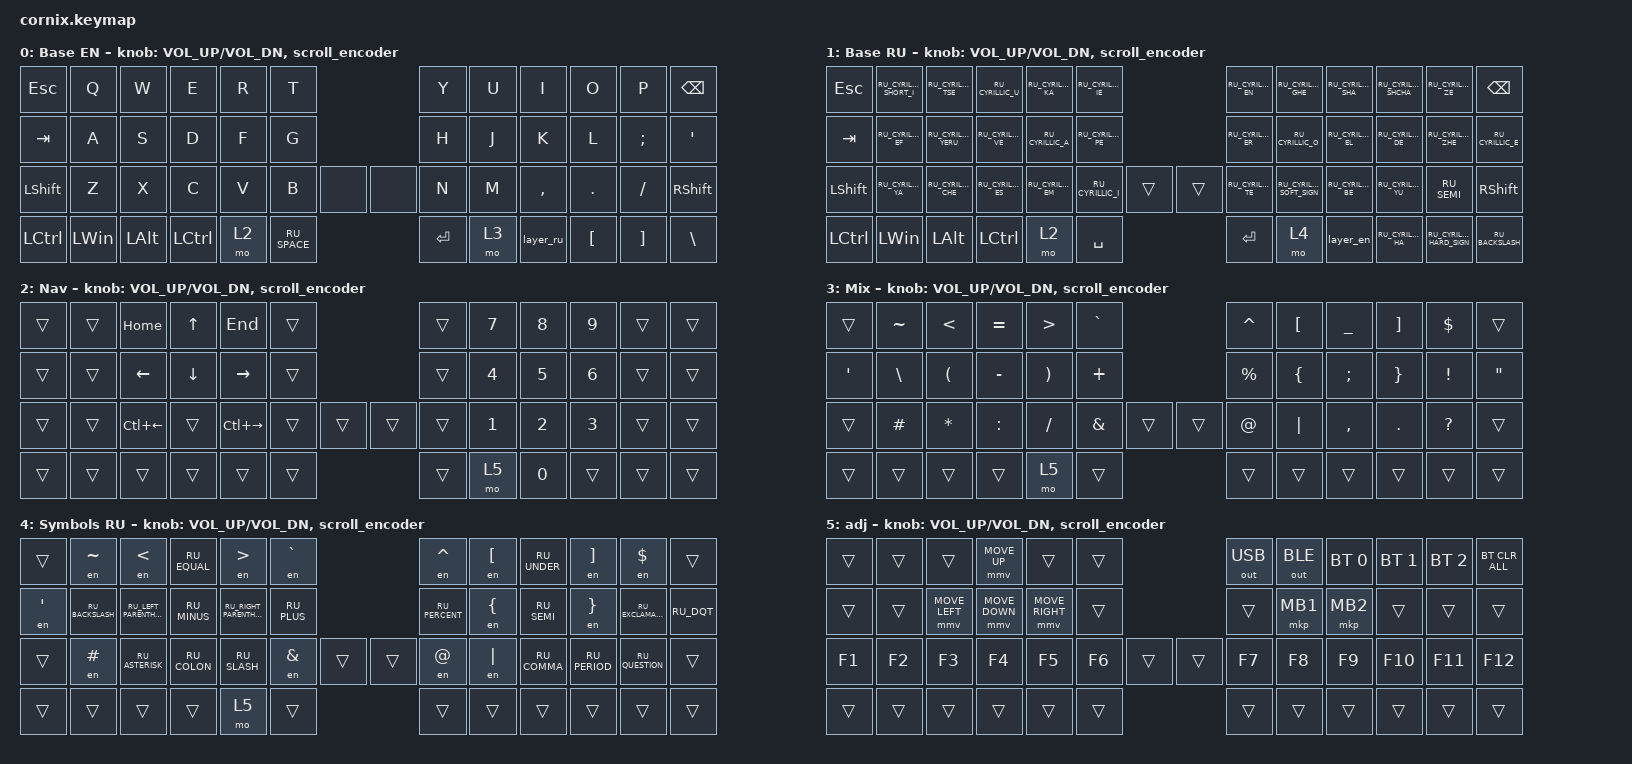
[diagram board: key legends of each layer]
/*
 * Copyright (c) 2020 The ZMK Contributors
 *
 * SPDX-License-Identifier: MIT
 */

#include "zmk-helpers/helper.h"
#include "includes/cornix54.h"
#include "keys_ru.h"

#define EN      0
#define RU      1
#define NAV     2
#define SYM_EN  3
#define SYM_RU  4
#define ADJ     5
#define ZMK_POINTING_DEFAULT_SCRL_VAL 80

#include <behaviors.dtsi>
#include <dt-bindings/zmk/bt.h>
#include <dt-bindings/zmk/keys.h>
#include <dt-bindings/zmk/outputs.h>
#include <dt-bindings/zmk/pointing.h>

/ {
    behaviors {
        scroll_encoder: scroll_encoder {
            compatible = "zmk,behavior-sensor-rotate";
            #sensor-binding-cells = <0>;
            bindings = <&msc SCRL_UP>, <&msc SCRL_DOWN>;

            tap-ms = <20>;
        };
    };

    combos {
        compatible = "zmk,combos";

        ru_io {
            bindings = <&kp RU_CYRILLIC_IO>;
            key-positions = <1 2>;
            layers = <1>;
            timeout-ms = <40>;
        };
    };

    macros {
        layer_en: layer_en {
            compatible = "zmk,behavior-macro";
            #binding-cells = <0>;
            bindings = <&to_en &to 0>;
        };

        layer_ru: layer_ru {
            compatible = "zmk,behavior-macro";
            #binding-cells = <0>;
            bindings = <&to_ru &to 1>;
        };

        to_en: to_en {
            compatible = "zmk,behavior-macro";
            #binding-cells = <0>;
            wait-ms = <30>;
            bindings = <&kp LS(LC(NUMBER_1))>;
        };

        to_ru: to_ru {
            compatible = "zmk,behavior-macro";
            #binding-cells = <0>;
            wait-ms = <30>;
            bindings = <&kp LS(LC(NUMBER_2))>;
        };

        en: en {
            compatible = "zmk,behavior-macro-one-param";
            #binding-cells = <1>;
            bindings =
                <&to_en>,
                <&macro_press>,
                <&macro_param_1to1 &kp MACRO_PLACEHOLDER>,
                <&macro_pause_for_release>,
                <&macro_release>,
                <&macro_param_1to1 &kp MACRO_PLACEHOLDER>,
                <&macro_tap>,
                <&to_ru>;
        };
    };

    keymap {
        compatible = "zmk,keymap";

        en {
            display-name = "Base EN";

            // ------------------------------------------------------------------------------------------------------------
            // |   `   |  1  |  2  |  3   |  4   |  5   |                   |  6   |  7    |  8    |  9   |   0   |       |
            // |  ESC  |  Q  |  W  |  E   |  R   |  T   |                   |  Y   |  U    |  I    |  O   |   P   | BKSPC |
            // |  TAB  |  A  |  S  |  D   |  F   |  G   |                   |  H   |  J    |  K    |  L   |   ;   |   '   |
            // | SHIFT |  Z  |  X  |  C   |  V   |  B   |  MUTE  |  |       |  N   |  M    |  ,    |  .   |   /   | SHIFT |
            //               | GUI | ALT  | CTRL | LOWER|  ENTER |  | SPACE | RAISE| CTRL  | ALT   | GUI  |

            bindings = <
&kp ESC         &kp Q         &kp W         &kp E      &kp R  &kp T                       &kp Y      &kp U  &kp I      &kp O     &kp P     &kp BACKSPACE
&kp TAB         &kp A         &kp S         &kp D      &kp F  &kp G                       &kp H      &kp J  &kp K      &kp L     &kp SEMI  &kp SQT
&kp LEFT_SHIFT  &kp Z         &kp X         &kp C      &kp V  &kp B         &none  &none  &kp N      &kp M  &kp COMMA  &kp DOT   &kp FSLH  &kp RIGHT_SHIFT
&kp LCTRL       &kp LEFT_WIN  &kp LEFT_ALT  &kp LCTRL  &mo 2  &kp RU_SPACE                &kp ENTER  &mo 3  &layer_ru  &kp LBKT  &kp RBKT  &kp BSLH
            >;

            sensor-bindings =
                <&inc_dec_kp C_VOL_UP C_VOL_DN>,
                <&scroll_encoder>;
        };

        ru {
            display-name = "Base RU";

            // ------------------------------------------------------------------------------------------------------------
            // |   `   |  1  |  2  |  3   |  4   |  5   |                   |  6   |  7    |  8    |  9   |   0   |       |
            // |  ESC  |  Q  |  W  |  E   |  R   |  T   |                   |  Y   |  U    |  I    |  O   |   P   | BKSPC |
            // |  TAB  |  A  |  S  |  D   |  F   |  G   |                   |  H   |  J    |  K    |  L   |   ;   |   '   |
            // | SHIFT |  Z  |  X  |  C   |  V   |  B   |  MUTE  |  |       |  N   |  M    |  ,    |  .   |   /   | SHIFT |
            //               | GUI | ALT  | CTRL | LOWER|  ENTER |  | SPACE | RAISE| CTRL  | ALT   | GUI  |

            bindings = <
&kp ESC         &kp RU_CYRILLIC_SHORT_I  &kp RU_CYRILLIC_TSE   &kp RU_CYRILLIC_U   &kp RU_CYRILLIC_KA  &kp RU_CYRILLIC_IE                  &kp RU_CYRILLIC_EN  &kp RU_CYRILLIC_GHE        &kp RU_CYRILLIC_SHA  &kp RU_CYRILLIC_SHCHA  &kp RU_CYRILLIC_ZE         &kp BACKSPACE
&kp TAB         &kp RU_CYRILLIC_EF       &kp RU_CYRILLIC_YERU  &kp RU_CYRILLIC_VE  &kp RU_CYRILLIC_A   &kp RU_CYRILLIC_PE                  &kp RU_CYRILLIC_ER  &kp RU_CYRILLIC_O          &kp RU_CYRILLIC_EL   &kp RU_CYRILLIC_DE     &kp RU_CYRILLIC_ZHE        &kp RU_CYRILLIC_E
&kp LEFT_SHIFT  &kp RU_CYRILLIC_YA       &kp RU_CYRILLIC_CHE   &kp RU_CYRILLIC_ES  &kp RU_CYRILLIC_EM  &kp RU_CYRILLIC_I   &trans  &trans  &kp RU_CYRILLIC_TE  &kp RU_CYRILLIC_SOFT_SIGN  &kp RU_CYRILLIC_BE   &kp RU_CYRILLIC_YU     &kp RU_SEMI                &kp RIGHT_SHIFT
&kp LCTRL       &kp LEFT_WIN             &kp LEFT_ALT          &kp LCTRL           &mo 2               &kp SPACE                           &kp ENTER           &mo 4                      &layer_en            &kp RU_CYRILLIC_HA     &kp RU_CYRILLIC_HARD_SIGN  &kp RU_BACKSLASH
            >;

            sensor-bindings =
                <&inc_dec_kp C_VOL_UP C_VOL_DN>,
                <&scroll_encoder>;
        };

        nav {
            display-name = "Nav";

            // TODO: Some binds are waiting for shifted keycode support.
            // -------------------------------
            // |       |  F1 |  F2 |  F3  |  F4  |  F5  |                   |  F6  |  F7   |  F8   |  F9  |  F10  |  F11  |
            // |   `   |  1  |  2  |  3   |  4   |  5   |                   |  6   |  7    |  8    |  9   |   0   |  F12  |
            // |       |  !  |  @  |  #   |  $   |  %   |                   |  ^   |  &    |  *    |  (   |   )   |   |   |
            // |       |  =  |  -  |  +   |  {   |  }   |        |  |       |  [   |  ]    |  ;    |  :   |   \   |       |
            //               |     |      |      |      |        |  |       |      |       |       |      |

            bindings = <
&trans  &trans  &kp HOME            &kp UP    &kp END              &trans                  &trans  &kp NUMBER_7  &kp NUMBER_8  &kp NUMBER_9  &trans  &trans
&trans  &trans  &kp LEFT            &kp DOWN  &kp RIGHT_ARROW      &trans                  &trans  &kp NUMBER_4  &kp NUMBER_5  &kp NUMBER_6  &trans  &trans
&trans  &trans  &kp LC(LEFT_ARROW)  &trans    &kp LC(RIGHT_ARROW)  &trans  &trans  &trans  &trans  &kp N1        &kp NUMBER_2  &kp NUMBER_3  &trans  &trans
&trans  &trans  &trans              &trans    &trans               &trans                  &trans  &mo 5         &kp NUMBER_0  &trans        &trans  &trans
            >;

            sensor-bindings =
                <&inc_dec_kp C_VOL_UP C_VOL_DN>,
                <&scroll_encoder>;
        };

        sym_en {
            display-name = "Mix";

            // ------------------------------------------------------------------------------------------------------------
            // | BTCLR | BT1  | BT2  |  BT3  |  BT4  |  BT5 |                |      |      |       |      |       |       |
            // |       | INS  | PSCR | GUI   |       |      |                | PGUP |      |   ^   |      |       |       |
            // |       | ALT  | CTRL | SHIFT |       | CAPS |                | PGDN |   <- |   v   |  ->  |  DEL  | BKSPC |
            // |       | UNDO | CUT  | COPY  | PASTE |      |      |  |      |      |      |       |      |       |       |
            //                |      |       |       |      |      |  |      |      |      |       |      |

            bindings = <
&trans   &kp TILDE  &kp LESS_THAN  &kp EQUAL  &kp GREATER_THAN  &kp GRAVE                      &kp CARET    &kp LEFT_BRACKET  &kp UNDER  &kp RIGHT_BRACKET  &kp DOLLAR  &trans
&kp SQT  &kp BSLH   &kp LPAR       &kp MINUS  &kp RPAR          &kp PLUS                       &kp PRCNT    &kp LEFT_BRACE    &kp SEMI   &kp RIGHT_BRACE    &kp EXCL    &kp DQT
&trans   &kp HASH   &kp ASTRK      &kp COLON  &kp FSLH          &kp AMPERSAND  &trans  &trans  &kp AT_SIGN  &kp PIPE          &kp COMMA  &kp DOT            &kp QMARK   &trans
&trans   &trans     &trans         &trans     &mo 5             &trans                         &trans       &trans            &trans     &trans             &trans      &trans
            >;

            sensor-bindings =
                <&inc_dec_kp C_VOL_UP C_VOL_DN>,
                <&scroll_encoder>;
        };

        sym_ru {
            display-name = "Symbols RU";

            // ----------------------------------------------------------------------------------------------------------------------------
            // | BTCLR  |  BT1    |  BT2    |   BT3   |   BT4   |   BT5   |                  |      |      |       |      |       |       |
            // | moDEBUG| RGB_HUD | RGB_HUI | RGB_SAD | RGB_SAI | RGB_EFF |                  |      |      |       |      |       |       |
            // | EXTPWR | RGB_BRD | RGB_BRI |         |         |         |                  |      |      |       |      |       |       |
            // |        |         |         |         |         |         | RGB_TOG | |      |      |      |       |      |       |       |
            //                    |         |         |         |         |         | |      |      |      |       |      |

            bindings = <
&trans   &en TILDE         &en LESS_THAN            &kp RU_EQUAL  &en GREATER_THAN          &en GRAVE                      &en CARET       &en LEFT_BRACKET  &kp RU_UNDER  &en RIGHT_BRACKET  &en DOLLAR          &trans
&en SQT  &kp RU_BACKSLASH  &kp RU_LEFT_PARENTHESIS  &kp RU_MINUS  &kp RU_RIGHT_PARENTHESIS  &kp RU_PLUS                    &kp RU_PERCENT  &en LEFT_BRACE    &kp RU_SEMI   &en RIGHT_BRACE    &kp RU_EXCLAMATION  &kp RU_DQT
&trans   &en HASH          &kp RU_ASTERISK          &kp RU_COLON  &kp RU_SLASH              &en AMPERSAND  &trans  &trans  &en AT_SIGN     &en PIPE          &kp RU_COMMA  &kp RU_PERIOD      &kp RU_QUESTION     &trans
&trans   &trans            &trans                   &trans        &mo 5                     &trans                         &trans          &trans            &trans        &trans             &trans              &trans
            >;

            sensor-bindings =
                <&inc_dec_kp C_VOL_UP C_VOL_DN>,
                <&scroll_encoder>;
        };

        adj {
            bindings = <
&trans  &trans  &trans          &mmv MOVE_UP    &trans           &trans                  &out OUT_USB  &out OUT_BLE  &bt BT_SEL 0  &bt BT_SEL 1  &bt BT_SEL 2  &bt BT_CLR_ALL
&trans  &trans  &mmv MOVE_LEFT  &mmv MOVE_DOWN  &mmv MOVE_RIGHT  &trans                  &trans        &mkp MB1      &mkp MB2      &trans        &trans        &trans
&kp F1  &kp F2  &kp F3          &kp F4          &kp F5           &kp F6  &trans  &trans  &kp F7        &kp F8        &kp F9        &kp F10       &kp F11       &kp F12
&trans  &trans  &trans          &trans          &trans           &trans                  &trans        &trans        &trans        &trans        &trans        &trans
            >;

            sensor-bindings =
                <&inc_dec_kp C_VOL_UP C_VOL_DN>,
                <&scroll_encoder>;
        };
    };
};
